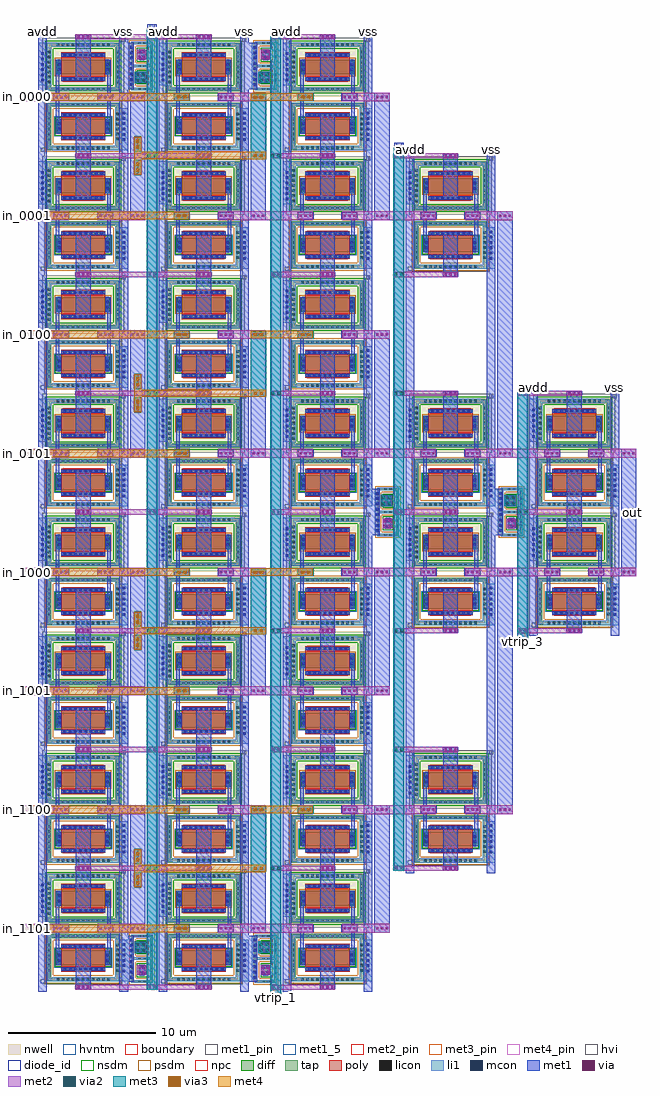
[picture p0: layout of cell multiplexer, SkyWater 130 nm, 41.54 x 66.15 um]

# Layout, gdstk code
import gdstk
lib = gdstk.Library(unit=1e-6, precision=1e-09)
def R(c, l, rs):  # rectangles x0, y0, x1, y1
    for r in rs: c.add(gdstk.rectangle(r[:2], r[2:], *l))
def A(c, l, x, y, w, h, nx, ny, dx, dy):  # array of equal rectangles
    R(c, l, [(x+i*dx, y+j*dy, x+i*dx+w, y+j*dy+h) for i in range(nx) for j in range(ny)])
nwell = (64, 20)
diff = (65, 20)
tap = (65, 44)
poly = (66, 20)
licon = (66, 44)
li1 = (67, 20)
mcon = (67, 44)
met1_5 = (68, 5)
met1_pin = (68, 16)
met1 = (68, 20)
via = (68, 44)
met2_pin = (69, 16)
met2 = (69, 20)
via2 = (69, 44)
met3_pin = (70, 16)
met3 = (70, 20)
via3 = (70, 44)
met4_pin = (71, 16)
met4 = (71, 20)
hvi = (75, 20)
diode_id = (81, 23)
nsdm = (93, 44)
psdm = (94, 20)
npc = (95, 20)
hvntm = (125, 20)
boundary = (235, 4)

sky130_fd_pr__pfet_g5v0d = lib.new_cell('sky130_fd_pr__pfet_g5v0d10v5_6H9SQ3')
R(sky130_fd_pr__pfet_g5v0d, nwell, [(-2.79,-1.985,2.79,1.985)])
R(sky130_fd_pr__pfet_g5v0d, diff, [(-1.79,-0.5,1.79,0.5)])
R(sky130_fd_pr__pfet_g5v0d, tap, [(-2.46,-1.655,2.46,-1.365), (-2.46,-1.365,-2.17,1.365), (2.17,-1.365,2.46,1.365), (-2.46,1.365,2.46,1.655)])
R(sky130_fd_pr__pfet_g5v0d, poly, [(-1.5,-0.985,1.5,0.985)])
A(sky130_fd_pr__pfet_g5v0d, licon, -1.785, -1.595, 0.17, 0.17, 11, 2, 0.34, 3.02)
A(sky130_fd_pr__pfet_g5v0d, licon, -2.4, -1.105, 0.17, 0.17, 1, 7, 0, 0.34)
A(sky130_fd_pr__pfet_g5v0d, licon, 2.23, -1.105, 0.17, 0.17, 1, 7, 0, 0.34)
A(sky130_fd_pr__pfet_g5v0d, licon, -1.275, -0.905, 0.17, 0.17, 8, 2, 0.34, 1.64)
A(sky130_fd_pr__pfet_g5v0d, licon, -1.73, -0.425, 0.17, 0.17, 1, 3, 0, 0.34)
A(sky130_fd_pr__pfet_g5v0d, licon, 1.56, -0.425, 0.17, 0.17, 1, 3, 0, 0.34)
R(sky130_fd_pr__pfet_g5v0d, li1, [(-2.4,-1.595,2.4,-1.425), (-2.4,-1.425,-2.23,1.425), (2.23,-1.425,2.4,1.425), (-1.5,-0.905,1.5,-0.735), (-1.73,-0.52,-1.56,0.52), (1.56,-0.52,1.73,0.52), (-1.5,0.735,1.5,0.905), (-2.4,1.425,2.4,1.595)])
A(sky130_fd_pr__pfet_g5v0d, mcon, -1.345, -0.905, 0.17, 0.17, 8, 2, 0.36, 1.64)
R(sky130_fd_pr__pfet_g5v0d, mcon, [(-1.73,-0.265,-1.56,-0.095), (1.56,-0.265,1.73,-0.095), (-1.73,0.095,-1.56,0.265), (1.56,0.095,1.73,0.265)])
R(sky130_fd_pr__pfet_g5v0d, met1, [(-1.48,-0.935,1.48,-0.705), (-1.76,-0.5,-1.53,0.5), (1.53,-0.5,1.76,0.5), (-1.48,0.705,1.48,0.935)])
R(sky130_fd_pr__pfet_g5v0d, hvi, [(-2.79,-1.985,2.79,1.985)])
R(sky130_fd_pr__pfet_g5v0d, nsdm, [(-2.585,-1.78,2.585,-1.24), (-2.585,-1.24,-2.045,1.24), (2.045,-1.24,2.585,1.24), (-2.585,1.24,2.585,1.78)])
R(sky130_fd_pr__pfet_g5v0d, psdm, [(-1.915,-0.625,1.915,0.625)])
R(sky130_fd_pr__pfet_g5v0d, npc, [(-1.375,-1.005,1.375,-0.635), (-1.375,0.635,1.375,1.005)])
R(sky130_fd_pr__pfet_g5v0d, boundary, [(-2.315,-1.51,2.315,1.51)])

sky130_fd_pr__nfet_g5v0d = lib.new_cell('sky130_fd_pr__nfet_g5v0d10v5_CY564Z')
R(sky130_fd_pr__nfet_g5v0d, diff, [(-1.79,-0.5,1.79,0.5)])
R(sky130_fd_pr__nfet_g5v0d, tap, [(-2.46,-1.61,2.46,-1.32), (-2.46,-1.32,-2.17,1.32), (2.17,-1.32,2.46,1.32), (-2.46,1.32,2.46,1.61)])
R(sky130_fd_pr__nfet_g5v0d, poly, [(-1.5,-0.94,1.5,0.94)])
A(sky130_fd_pr__nfet_g5v0d, licon, -1.785, -1.55, 0.17, 0.17, 11, 2, 0.34, 2.93)
A(sky130_fd_pr__nfet_g5v0d, licon, -2.4, -0.935, 0.17, 0.17, 1, 6, 0, 0.34)
A(sky130_fd_pr__nfet_g5v0d, licon, 2.23, -0.935, 0.17, 0.17, 1, 6, 0, 0.34)
A(sky130_fd_pr__nfet_g5v0d, licon, -1.275, -0.86, 0.17, 0.17, 8, 2, 0.34, 1.55)
A(sky130_fd_pr__nfet_g5v0d, licon, -1.73, -0.425, 0.17, 0.17, 1, 3, 0, 0.34)
A(sky130_fd_pr__nfet_g5v0d, licon, 1.56, -0.425, 0.17, 0.17, 1, 3, 0, 0.34)
R(sky130_fd_pr__nfet_g5v0d, li1, [(-2.4,-1.55,2.4,-1.38), (-2.4,-1.38,-2.23,1.38), (2.23,-1.38,2.4,1.38), (-1.5,-0.86,1.5,-0.69), (-1.73,-0.52,-1.56,0.52), (1.56,-0.52,1.73,0.52), (-1.5,0.69,1.5,0.86), (-2.4,1.38,2.4,1.55)])
A(sky130_fd_pr__nfet_g5v0d, mcon, -1.345, -0.86, 0.17, 0.17, 8, 2, 0.36, 1.55)
R(sky130_fd_pr__nfet_g5v0d, mcon, [(-1.73,-0.265,-1.56,-0.095), (1.56,-0.265,1.73,-0.095), (-1.73,0.095,-1.56,0.265), (1.56,0.095,1.73,0.265)])
R(sky130_fd_pr__nfet_g5v0d, met1, [(-1.48,-0.89,1.48,-0.66), (-1.76,-0.5,-1.53,0.5), (1.53,-0.5,1.76,0.5), (-1.48,0.66,1.48,0.89)])
R(sky130_fd_pr__nfet_g5v0d, hvi, [(-2.645,-1.795,2.645,1.795)])
R(sky130_fd_pr__nfet_g5v0d, nsdm, [(-1.915,-0.625,1.915,0.625)])
R(sky130_fd_pr__nfet_g5v0d, psdm, [(-2.585,-1.735,2.585,-1.195), (-2.585,-1.195,-2.045,1.195), (2.045,-1.195,2.585,1.195), (-2.585,1.195,2.585,1.735)])
R(sky130_fd_pr__nfet_g5v0d, npc, [(-1.375,-0.96,1.375,-0.59), (-1.375,0.59,1.375,0.96)])
R(sky130_fd_pr__nfet_g5v0d, hvntm, [(-1.975,-0.685,1.975,0.685)])
R(sky130_fd_pr__nfet_g5v0d, boundary, [(-2.31,-1.46,2.31,1.46)])

trans_gate_m = lib.new_cell('trans_gate_m')
R(trans_gate_m, li1, [(0.255,-0.145,5.355,0.145), (4.485,0.145,5.355,2.675), (-0.725,4.235,0.145,6.855), (-0.725,6.855,4.375,7.145)])
A(trans_gate_m, mcon, 4.98, 0.48, 0.17, 0.17, 1, 6, 0, 0.36)
A(trans_gate_m, mcon, -0.52, 4.505, 0.17, 0.17, 1, 6, 0, 0.36)
R(trans_gate_m, met1_pin, [(-0.575,-0.275,-0.295,0.005), (4.925,7.195,5.205,7.475)])
R(trans_gate_m, met1, [(4.775,-0.725,5.355,7.475), (1.785,-0.67,2.845,-0.38), (1.815,-0.38,2.815,2.355), (-0.725,-0.275,-0.145,7.775), (0.455,0.965,0.815,1.965), (3.815,0.965,4.175,1.965), (0.455,1.965,0.695,3.205), (3.935,1.965,4.175,3.205), (0.275,3.205,1.375,3.705), (3.255,3.205,4.355,3.705), (0.455,3.705,0.695,4.99), (3.935,3.705,4.175,4.99), (1.815,4.555,2.815,7.38), (0.455,4.99,0.815,5.99), (3.815,4.99,4.175,5.99), (1.785,7.38,2.845,7.67)])
A(trans_gate_m, via, 1.92, -0.6, 0.15, 0.15, 3, 2, 0.32, 8.05)
A(trans_gate_m, via, 0.43, 3.38, 0.15, 0.15, 3, 1, 0.32, 0)
A(trans_gate_m, via, 3.41, 3.38, 0.15, 0.15, 3, 1, 0.32, 0)
R(trans_gate_m, met2_pin, [(1.815,-0.67,2.815,-0.38), (0.325,3.205,1.325,3.705), (3.305,3.205,4.305,3.705), (1.815,7.38,2.815,7.67)])
R(trans_gate_m, met2, [(1.815,-0.7,2.815,-0.35), (0.325,3.155,1.325,3.755), (3.305,3.155,4.305,3.755), (1.815,7.35,2.815,7.7)])
R(trans_gate_m, hvi, [(-0.33,3.26,4.96,3.505)])
trans_gate_m.add(gdstk.Reference(sky130_fd_pr__pfet_g5v0d, (2.315,5.49)))
trans_gate_m.add(gdstk.Reference(sky130_fd_pr__nfet_g5v0d, (2.315,1.465)))
trans_gate_m.add(gdstk.Label('in', (0.825,3.455), layer=69, texttype=5))
trans_gate_m.add(gdstk.Label('ena_b', (2.315,7.525), layer=69, texttype=5))
trans_gate_m.add(gdstk.Label('ena', (2.315,-0.525), layer=69, texttype=5))
trans_gate_m.add(gdstk.Label('avdd', (-0.435,-0.135), layer=68, texttype=5))
trans_gate_m.add(gdstk.Label('vss', (5.065,7.335), layer=68, texttype=5))
trans_gate_m.add(gdstk.Label('out', (3.805,3.455), layer=69, texttype=5))

sky130_fd_pr__diode_pw2n = lib.new_cell('sky130_fd_pr__diode_pw2nd_05v5_F6RBXN')
R(sky130_fd_pr__diode_pw2n, diff, [(-0.225,-0.35,0.225,0.35)])
R(sky130_fd_pr__diode_pw2n, tap, [(-0.735,-0.86,0.735,-0.69), (-0.735,-0.69,-0.565,0.69), (0.565,-0.69,0.735,0.69), (-0.735,0.69,0.735,0.86)])
A(sky130_fd_pr__diode_pw2n, licon, -0.735, -0.255, 0.17, 0.17, 3, 2, 0.65, 0.34)
R(sky130_fd_pr__diode_pw2n, licon, [(-0.255,-0.86,-0.085,-0.69), (0.085,-0.86,0.255,-0.69), (-0.255,0.69,-0.085,0.86), (0.085,0.69,0.255,0.86)])
R(sky130_fd_pr__diode_pw2n, li1, [(-0.735,-0.86,0.735,-0.69), (-0.735,-0.69,-0.565,0.69), (0.565,-0.69,0.735,0.69), (-0.165,-0.37,0.165,0.37), (-0.735,0.69,0.735,0.86)])
R(sky130_fd_pr__diode_pw2n, mcon, [(-0.085,-0.265,0.085,-0.095), (-0.085,0.095,0.085,0.265)])
R(sky130_fd_pr__diode_pw2n, met1, [(-0.195,-0.35,0.195,0.35)])
R(sky130_fd_pr__diode_pw2n, diode_id, [(-0.225,-0.35,0.225,0.35)])
R(sky130_fd_pr__diode_pw2n, nsdm, [(-0.35,-0.475,0.35,0.475)])
R(sky130_fd_pr__diode_pw2n, psdm, [(-0.86,-0.985,0.86,-0.565), (-0.86,-0.565,-0.44,0.565), (0.44,-0.565,0.86,0.565), (-0.86,0.565,0.86,0.985)])
R(sky130_fd_pr__diode_pw2n, boundary, [(-0.65,-0.775,0.65,0.775)])

multiplexer = lib.new_cell('multiplexer')
R(multiplexer, li1, [(6.085,0.56,6.465,3.69), (14.475,0.56,14.855,3.69), (22.815,30.835,23.135,33.965), (31.155,30.835,31.475,33.965), (6.085,61.06,6.465,64.19), (14.475,61.06,14.855,64.19)])
A(multiplexer, mcon, 6.195, 0.78, 0.17, 0.17, 1, 8, 0, 0.36)
A(multiplexer, mcon, 14.585, 0.78, 0.17, 0.17, 1, 8, 0, 0.36)
A(multiplexer, mcon, 22.89, 31.055, 0.17, 0.17, 1, 8, 0, 0.36)
A(multiplexer, mcon, 31.23, 31.055, 0.17, 0.17, 1, 8, 0, 0.36)
A(multiplexer, mcon, 6.195, 61.28, 0.17, 0.17, 1, 8, 0, 0.36)
A(multiplexer, mcon, 14.585, 61.28, 0.17, 0.17, 1, 8, 0, 0.36)
R(multiplexer, met1_5, [(33.44,40.7,33.72,40.98), (38.94,40.7,39.22,40.98), (25.055,56.8,25.335,57.08), (30.555,56.8,30.835,57.08), (8.325,64.85,8.605,65.13), (13.825,64.85,14.105,65.13), (16.715,64.85,16.995,65.13), (22.215,64.85,22.495,65.13)])
R(multiplexer, met1_pin, [(15.93,-0.675,16.28,-0.325), (32.655,23.475,33.005,23.825), (40.04,32.15,40.54,32.65), (24.27,57.075,24.62,57.425), (0.155,64.85,0.435,65.13), (5.655,64.85,5.935,65.13), (7.54,65.125,7.89,65.475)])
A(multiplexer, met1, 6.225, 3.88, 1.03, 8.65, 1, 4, 0, 16.1)
A(multiplexer, met1, 14.395, 3.88, 1.03, 8.65, 1, 4, 0, 16.1)
A(multiplexer, met1, 22.785, 3.88, 1.03, 8.65, 1, 4, 0, 16.1)
R(multiplexer, met1, [(15.785,-0.675,16.425,1.03), (0.005,-0.13,0.585,0.45), (5.505,-0.13,6.085,0.45), (8.175,-0.13,8.755,0.45), (13.675,-0.13,14.255,0.45), (16.565,-0.13,17.145,0.45), (22.065,-0.13,22.645,0.45), (7.395,0.025,8.035,1.03), (6.085,0.56,6.465,3.69), (14.255,0.56,14.855,3.69), (6.675,1.03,8.035,1.67), (15.065,1.03,16.425,1.67), (7.395,1.67,8.035,63.08), (15.785,1.67,16.425,63.08), (6.605,2.58,7.245,3.22), (14.995,2.58,15.635,3.22), (24.905,7.92,25.485,8.5), (30.405,7.92,30.985,8.5), (24.125,8.075,24.765,31.305), (30.405,11.31,30.985,24.3), (31.125,11.93,32.155,28.63), (24.905,16.55,25.485,24.6), (32.51,23.475,33.15,31.305), (33.29,24.02,33.87,24.6), (38.79,24.02,39.37,24.6), (39.51,28.03,40.54,36.68), (22.645,30.835,23.135,33.965), (30.985,30.835,31.475,33.965), (23.345,31.305,24.765,31.945), (31.73,31.305,33.15,31.945), (24.125,31.945,24.765,57.425), (32.51,31.945,33.15,40.625), (23.275,32.855,23.915,33.495), (31.66,32.855,32.3,33.495), (31.125,36.08,32.155,52.78), (30.405,40.4,30.985,48.3), (33.29,40.4,33.87,40.98), (38.79,40.4,39.37,40.98), (24.905,40.7,25.485,48.75), (24.905,56.5,25.485,57.08), (30.405,56.5,30.985,57.08), (6.085,61.06,6.465,64.19), (14.255,61.06,14.855,64.19), (6.605,61.53,7.245,62.17), (14.995,61.53,15.635,62.17), (6.675,63.08,8.035,63.72), (15.065,63.08,16.425,63.72), (7.395,63.72,8.035,65.475), (15.785,63.72,16.425,64.775), (0.005,64.55,0.585,65.13), (5.505,64.55,6.085,65.13), (8.175,64.55,8.755,65.13), (13.675,64.55,14.255,65.13), (16.565,64.55,17.145,65.13), (22.065,64.55,22.645,65.13)])
A(multiplexer, via, 7.48, 0.125, 0.15, 0.15, 1, 5, 0, 16.1)
A(multiplexer, via, 7.8, 0.125, 0.15, 0.15, 1, 5, 0, 16.1)
A(multiplexer, via, 15.87, 0.125, 0.15, 0.15, 1, 5, 0, 16.1)
A(multiplexer, via, 16.19, 0.125, 0.15, 0.15, 1, 5, 0, 16.1)
A(multiplexer, via, 6.345, 4.105, 0.15, 0.15, 3, 8, 0.32, 8.05)
A(multiplexer, via, 14.515, 4.105, 0.15, 0.15, 3, 8, 0.32, 8.05)
A(multiplexer, via, 22.905, 4.105, 0.15, 0.15, 3, 8, 0.32, 8.05)
A(multiplexer, via, 6.665, 7.065, 0.15, 0.15, 1, 3, 0, 0.32)
A(multiplexer, via, 24.21, 8.175, 0.15, 0.15, 1, 3, 0, 24.15)
A(multiplexer, via, 24.53, 8.175, 0.15, 0.15, 1, 3, 0, 24.15)
A(multiplexer, via, 6.665, 8.645, 0.15, 0.15, 1, 3, 0, 0.32)
A(multiplexer, via, 31.245, 12.155, 0.15, 0.15, 3, 2, 0.32, 16.1)
A(multiplexer, via, 6.665, 23.165, 0.15, 0.15, 1, 3, 0, 0.32)
A(multiplexer, via, 6.665, 24.745, 0.15, 0.15, 1, 3, 0, 0.32)
A(multiplexer, via, 39.63, 28.255, 0.15, 0.15, 3, 2, 0.32, 8.05)
A(multiplexer, via, 31.245, 36.305, 0.15, 0.15, 3, 2, 0.32, 16.1)
A(multiplexer, via, 6.665, 39.265, 0.15, 0.15, 1, 3, 0, 0.32)
A(multiplexer, via, 6.665, 40.845, 0.15, 0.15, 1, 3, 0, 0.32)
A(multiplexer, via, 6.665, 55.365, 0.15, 0.15, 1, 3, 0, 0.32)
A(multiplexer, via, 6.665, 56.945, 0.15, 0.15, 1, 3, 0, 0.32)
R(multiplexer, via, [(6.76,1.115,6.91,1.265), (7.08,1.115,7.23,1.265), (15.15,1.115,15.3,1.265), (15.47,1.115,15.62,1.265), (6.76,1.435,6.91,1.585), (7.08,1.435,7.23,1.585), (15.15,1.435,15.3,1.585), (15.47,1.435,15.62,1.585), (6.69,2.665,6.84,2.815), (7.01,2.665,7.16,2.815), (15.08,2.665,15.23,2.815), (15.4,2.665,15.55,2.815), (6.69,2.985,6.84,3.135), (7.01,2.985,7.16,3.135), (15.08,2.985,15.23,3.135), (15.4,2.985,15.55,3.135), (32.595,24.275,32.745,24.425), (32.915,24.275,33.065,24.425), (23.43,31.39,23.58,31.54), (23.75,31.39,23.9,31.54), (31.815,31.39,31.965,31.54), (32.135,31.39,32.285,31.54), (23.43,31.71,23.58,31.86), (23.75,31.71,23.9,31.86), (31.815,31.71,31.965,31.86), (32.135,31.71,32.285,31.86), (23.36,32.94,23.51,33.09), (23.68,32.94,23.83,33.09), (31.745,32.94,31.895,33.09), (32.065,32.94,32.215,33.09), (23.36,33.26,23.51,33.41), (23.68,33.26,23.83,33.41), (31.745,33.26,31.895,33.41), (32.065,33.26,32.215,33.41), (32.595,40.375,32.745,40.525), (32.915,40.375,33.065,40.525), (6.69,61.615,6.84,61.765), (7.01,61.615,7.16,61.765), (15.08,61.615,15.23,61.765), (15.4,61.615,15.55,61.765), (6.69,61.935,6.84,62.085), (7.01,61.935,7.16,62.085), (15.08,61.935,15.23,62.085), (15.4,61.935,15.55,62.085), (6.76,63.165,6.91,63.315), (7.08,63.165,7.23,63.315), (15.15,63.165,15.3,63.315), (15.47,63.165,15.62,63.315), (6.76,63.485,6.91,63.635), (7.08,63.485,7.23,63.635), (15.15,63.485,15.3,63.635), (15.47,63.485,15.62,63.635)])
A(multiplexer, met2_pin, -0.995, 3.93, 0.5, 0.5, 1, 8, 0, 8.05)
A(multiplexer, met2, 3.545, 0.025, 8.17, 0.35, 1, 9, 0, 8.05)
A(multiplexer, met2, 15.785, 0.025, 4.32, 0.35, 1, 5, 0, 16.1)
A(multiplexer, met2, -0.995, 3.88, 2.05, 0.6, 1, 8, 0, 8.05)
A(multiplexer, met2, 5.035, 3.88, 2.22, 0.6, 1, 8, 0, 8.05)
A(multiplexer, met2, 9.225, 3.88, 1, 0.6, 1, 8, 0, 8.05)
A(multiplexer, met2, 13.205, 3.88, 5.41, 0.6, 1, 3, 0, 16.1)
A(multiplexer, met2, 15.715, 8.075, 4.39, 0.35, 1, 4, 0, 16.1)
A(multiplexer, met2, 24.125, 8.075, 4.32, 0.35, 1, 3, 0, 24.15)
A(multiplexer, met2, 13.205, 11.93, 2.22, 0.6, 1, 3, 0, 16.1)
A(multiplexer, met2, 17.615, 11.93, 1, 0.6, 1, 4, 0, 16.1)
R(multiplexer, met2, [(6.675,1.03,7.315,1.67), (15.065,1.03,15.705,1.67), (6.535,2.51,7.315,3.29), (14.925,2.51,15.705,3.29), (21.595,3.88,23.815,4.48), (6.465,6.985,7.015,7.935), (6.465,8.565,7.015,9.515), (21.595,11.93,26.955,12.53), (29.935,11.93,32.155,12.53), (24.055,16.125,28.445,16.475), (21.595,19.98,23.815,20.58), (6.465,23.085,7.015,24.035), (24.055,24.175,28.445,24.525), (32.51,24.175,36.83,24.525), (6.465,24.665,7.015,25.615), (21.595,28.03,26.955,28.63), (29.935,28.03,35.34,28.63), (38.32,28.03,40.54,28.63), (23.345,31.305,23.985,31.945), (31.73,31.305,32.37,31.945), (32.44,32.225,36.83,32.575), (23.205,32.785,23.985,33.565), (31.59,32.785,32.37,33.565), (21.595,36.08,26.955,36.68), (29.935,36.08,35.34,36.68), (38.32,36.08,40.54,36.68), (6.465,39.185,7.015,40.135), (24.055,40.275,28.445,40.625), (32.51,40.275,36.83,40.625), (6.465,40.765,7.015,41.715), (21.595,44.13,23.815,44.73), (24.055,48.325,28.445,48.675), (12.935,52.18,18.615,52.78), (21.595,52.18,26.955,52.78), (29.935,52.18,32.155,52.78), (6.465,55.285,7.015,56.235), (6.465,56.865,7.015,57.815), (13.175,60.23,15.425,60.83), (21.595,60.23,23.815,60.83), (6.535,61.46,7.315,62.24), (14.925,61.46,15.705,62.24), (6.675,63.08,7.315,63.72), (15.065,63.08,15.705,63.72)])
A(multiplexer, via2, 9.425, 4.08, 0.2, 0.2, 1, 8, 0, 8.05)
A(multiplexer, via2, 9.825, 4.08, 0.2, 0.2, 1, 8, 0, 8.05)
A(multiplexer, via2, 7.415, 8.15, 0.2, 0.2, 1, 4, 0, 16.1)
A(multiplexer, via2, 7.815, 8.15, 0.2, 0.2, 1, 4, 0, 16.1)
A(multiplexer, via2, 15.805, 8.15, 0.2, 0.2, 1, 4, 0, 16.1)
A(multiplexer, via2, 16.205, 8.15, 0.2, 0.2, 1, 4, 0, 16.1)
A(multiplexer, via2, 17.815, 12.13, 0.2, 0.2, 1, 4, 0, 16.1)
A(multiplexer, via2, 18.215, 12.13, 0.2, 0.2, 1, 4, 0, 16.1)
R(multiplexer, via2, [(6.625,2.6,6.825,2.8), (7.025,2.6,7.225,2.8), (15.015,2.6,15.215,2.8), (15.415,2.6,15.615,2.8), (6.625,3,6.825,3.2), (7.025,3,7.225,3.2), (15.015,3,15.215,3.2), (15.415,3,15.615,3.2), (6.64,7.16,6.84,7.36), (6.64,7.56,6.84,7.76), (6.64,8.74,6.84,8.94), (6.64,9.14,6.84,9.34), (24.145,16.2,24.345,16.4), (24.545,16.2,24.745,16.4), (6.64,23.26,6.84,23.46), (6.64,23.66,6.84,23.86), (24.145,24.25,24.345,24.45), (24.545,24.25,24.745,24.45), (6.64,24.84,6.84,25.04), (6.64,25.24,6.84,25.44), (32.53,32.3,32.73,32.5), (32.93,32.3,33.13,32.5), (23.295,32.875,23.495,33.075), (23.695,32.875,23.895,33.075), (31.68,32.875,31.88,33.075), (32.08,32.875,32.28,33.075), (23.295,33.275,23.495,33.475), (23.695,33.275,23.895,33.475), (31.68,33.275,31.88,33.475), (32.08,33.275,32.28,33.475), (6.64,39.36,6.84,39.56), (6.64,39.76,6.84,39.96), (24.145,40.35,24.345,40.55), (24.545,40.35,24.745,40.55), (6.64,40.94,6.84,41.14), (6.64,41.34,6.84,41.54), (24.145,48.4,24.345,48.6), (24.545,48.4,24.745,48.6), (6.64,55.46,6.84,55.66), (6.64,55.86,6.84,56.06), (6.64,57.04,6.84,57.24), (6.64,57.44,6.84,57.64), (6.625,61.55,6.825,61.75), (7.025,61.55,7.225,61.75), (15.015,61.55,15.215,61.75), (15.415,61.55,15.615,61.75), (6.625,61.95,6.825,62.15), (7.025,61.95,7.225,62.15), (15.015,61.95,15.215,62.15), (15.415,61.95,15.615,62.15)])
R(multiplexer, met3_pin, [(15.93,-0.325,16.28,0.025), (32.655,23.825,33.005,24.175), (24.27,56.725,24.62,57.075), (7.54,64.775,7.89,65.125)])
A(multiplexer, met3, 9.175, 3.905, 1.1, 0.55, 1, 8, 0, 8.05)
A(multiplexer, met3, 14.385, 8.025, 1.05, 4.425, 1, 4, 0, 16.1)
A(multiplexer, met3, 17.565, 11.955, 1.1, 0.55, 1, 4, 0, 16.1)
R(multiplexer, met3, [(15.735,-0.325,16.475,2.51), (7.345,0.025,8.085,2.51), (6.535,2.51,8.085,3.29), (14.925,2.51,16.475,3.29), (7.345,3.29,8.085,61.46), (15.735,3.29,16.475,61.46), (6.49,6.935,6.99,7.985), (24.075,8.075,24.815,32.785), (6.49,8.515,6.99,9.565), (6.49,23.035,6.99,24.085), (32.46,23.825,33.2,32.785), (6.49,24.615,6.99,25.665), (23.205,32.785,24.815,33.565), (31.59,32.785,33.2,33.565), (24.075,33.565,24.815,56.725), (32.46,33.565,33.2,40.625), (6.49,39.135,6.99,40.185), (6.49,40.715,6.99,41.765), (6.49,55.235,6.99,56.285), (24.08,56.725,24.815,57.075), (6.49,56.815,6.99,57.865), (6.535,61.46,8.085,62.24), (14.925,61.46,16.475,62.24), (7.345,62.24,8.085,65.125), (15.735,62.24,16.475,64.775)])
A(multiplexer, via3, 9.425, 4.08, 0.2, 0.2, 1, 8, 0, 8.05)
A(multiplexer, via3, 9.825, 4.08, 0.2, 0.2, 1, 8, 0, 8.05)
A(multiplexer, via3, 17.815, 12.13, 0.2, 0.2, 1, 4, 0, 16.1)
A(multiplexer, via3, 18.215, 12.13, 0.2, 0.2, 1, 4, 0, 16.1)
R(multiplexer, via3, [(6.64,7.16,6.84,7.36), (6.64,7.56,6.84,7.76), (14.61,8.15,14.81,8.35), (15.01,8.15,15.21,8.35), (6.64,8.74,6.84,8.94), (6.64,9.14,6.84,9.34), (14.61,12.125,14.81,12.325), (15.01,12.125,15.21,12.325), (6.64,23.26,6.84,23.46), (6.64,23.66,6.84,23.86), (14.61,24.25,14.81,24.45), (15.01,24.25,15.21,24.45), (6.64,24.84,6.84,25.04), (6.64,25.24,6.84,25.44), (14.61,28.225,14.81,28.425), (15.01,28.225,15.21,28.425), (6.64,39.36,6.84,39.56), (6.64,39.76,6.84,39.96), (14.61,40.35,14.81,40.55), (15.01,40.35,15.21,40.55), (6.64,40.94,6.84,41.14), (6.64,41.34,6.84,41.54), (14.61,44.325,14.81,44.525), (15.01,44.325,15.21,44.525), (6.64,55.46,6.84,55.66), (6.64,55.86,6.84,56.06), (14.61,56.45,14.81,56.65), (15.01,56.45,15.21,56.65), (6.64,57.04,6.84,57.24), (6.64,57.44,6.84,57.64), (14.61,60.425,14.81,60.625), (15.01,60.425,15.21,60.625)])
A(multiplexer, met4_pin, -0.495, 3.93, 0.5, 0.5, 1, 8, 0, 8.05)
A(multiplexer, met4, -0.495, 3.925, 10.725, 0.51, 1, 8, 0, 8.05)
A(multiplexer, met4, 6.49, 8, 8.92, 0.5, 1, 4, 0, 16.1)
A(multiplexer, met4, 14.41, 11.975, 4.21, 0.51, 1, 4, 0, 16.1)
R(multiplexer, met4, [(6.49,6.96,6.99,8), (6.49,8.5,6.99,9.54), (6.49,23.06,6.99,24.1), (6.49,24.6,6.99,25.64), (6.49,39.16,6.99,40.2), (6.49,40.7,6.99,41.74), (6.49,55.26,6.99,56.3), (6.49,56.8,6.99,57.84)])
A(multiplexer, hvi, 0.4, 8.2, 5.29, 0.245, 1, 7, 0, 8.05)
A(multiplexer, hvi, 8.57, 8.2, 5.29, 0.245, 1, 7, 0, 8.05)
A(multiplexer, hvi, 16.96, 8.2, 5.29, 0.245, 1, 7, 0, 8.05)
R(multiplexer, hvi, [(25.3,32.35,30.59,32.595), (33.685,32.35,38.975,32.595)])
multiplexer.add(gdstk.Reference(trans_gate_m, (25.63,8.775)))
multiplexer.add(gdstk.Reference(trans_gate_m, (34.015,24.875)))
multiplexer.add(gdstk.Reference(trans_gate_m, (34.015,32.925)))
multiplexer.add(gdstk.Reference(trans_gate_m, (25.63,24.875)))
multiplexer.add(gdstk.Reference(trans_gate_m, (17.29,57.075)))
multiplexer.add(gdstk.Reference(trans_gate_m, (17.29,49.025)))
multiplexer.add(gdstk.Reference(trans_gate_m, (25.63,32.925)))
multiplexer.add(gdstk.Reference(trans_gate_m, (17.29,40.975)))
multiplexer.add(gdstk.Reference(trans_gate_m, (17.29,32.925)))
multiplexer.add(gdstk.Reference(trans_gate_m, (17.29,24.875)))
multiplexer.add(gdstk.Reference(trans_gate_m, (17.29,16.825)))
multiplexer.add(gdstk.Reference(trans_gate_m, (25.63,49.025)))
multiplexer.add(gdstk.Reference(trans_gate_m, (17.29,0.725)))
multiplexer.add(gdstk.Reference(trans_gate_m, (17.29,8.775)))
multiplexer.add(gdstk.Reference(trans_gate_m, (0.73,57.075)))
multiplexer.add(gdstk.Reference(trans_gate_m, (0.73,49.025)))
multiplexer.add(gdstk.Reference(trans_gate_m, (0.73,40.975)))
multiplexer.add(gdstk.Reference(trans_gate_m, (0.73,32.925)))
multiplexer.add(gdstk.Reference(trans_gate_m, (0.73,16.825)))
multiplexer.add(gdstk.Reference(trans_gate_m, (0.73,24.875)))
multiplexer.add(gdstk.Reference(trans_gate_m, (0.73,8.775)))
multiplexer.add(gdstk.Reference(trans_gate_m, (0.73,0.725)))
multiplexer.add(gdstk.Reference(trans_gate_m, (8.9,0.725)))
multiplexer.add(gdstk.Reference(trans_gate_m, (8.9,8.775)))
multiplexer.add(gdstk.Reference(trans_gate_m, (8.9,24.875)))
multiplexer.add(gdstk.Reference(trans_gate_m, (8.9,16.825)))
multiplexer.add(gdstk.Reference(trans_gate_m, (8.9,32.925)))
multiplexer.add(gdstk.Reference(trans_gate_m, (8.9,40.975)))
multiplexer.add(gdstk.Reference(trans_gate_m, (8.9,49.025)))
multiplexer.add(gdstk.Reference(trans_gate_m, (8.9,57.075)))
multiplexer.add(gdstk.Reference(sky130_fd_pr__diode_pw2n, (32.085,31.625), x_reflection=True))
multiplexer.add(gdstk.Reference(sky130_fd_pr__diode_pw2n, (32.085,33.175), x_reflection=True))
multiplexer.add(gdstk.Reference(sky130_fd_pr__diode_pw2n, (23.7,31.625), x_reflection=True))
multiplexer.add(gdstk.Reference(sky130_fd_pr__diode_pw2n, (23.7,33.175), x_reflection=True))
multiplexer.add(gdstk.Reference(sky130_fd_pr__diode_pw2n, (15.42,63.4)))
multiplexer.add(gdstk.Reference(sky130_fd_pr__diode_pw2n, (15.42,61.85)))
multiplexer.add(gdstk.Reference(sky130_fd_pr__diode_pw2n, (15.42,2.9), x_reflection=True))
multiplexer.add(gdstk.Reference(sky130_fd_pr__diode_pw2n, (15.42,1.35), x_reflection=True))
multiplexer.add(gdstk.Reference(sky130_fd_pr__diode_pw2n, (7.03,1.35), x_reflection=True))
multiplexer.add(gdstk.Reference(sky130_fd_pr__diode_pw2n, (7.03,2.9), x_reflection=True))
multiplexer.add(gdstk.Reference(sky130_fd_pr__diode_pw2n, (7.03,61.85)))
multiplexer.add(gdstk.Reference(sky130_fd_pr__diode_pw2n, (7.03,63.4)))
multiplexer.add(gdstk.Label('avdd', (8.465,64.99), layer=68, texttype=5))
multiplexer.add(gdstk.Label('vss', (13.965,64.99), layer=68, texttype=5))
multiplexer.add(gdstk.Label('avdd', (16.855,64.99), layer=68, texttype=5))
multiplexer.add(gdstk.Label('vss', (22.355,64.99), layer=68, texttype=5))
multiplexer.add(gdstk.Label('avdd', (25.195,56.94), layer=68, texttype=5))
multiplexer.add(gdstk.Label('vss', (30.695,56.94), layer=68, texttype=5))
multiplexer.add(gdstk.Label('avdd', (33.58,40.84), layer=68, texttype=5))
multiplexer.add(gdstk.Label('vss', (39.08,40.84), layer=68, texttype=5))
multiplexer.add(gdstk.Label('in_0000', (-0.745,60.53), layer=69, texttype=5))
multiplexer.add(gdstk.Label('in_0001', (-0.745,52.48), layer=69, texttype=5))
multiplexer.add(gdstk.Label('in_0010', (-0.245,60.53), layer=71, texttype=5))
multiplexer.add(gdstk.Label('in_0011', (-0.245,52.48), layer=71, texttype=5))
multiplexer.add(gdstk.Label('in_0100', (-0.745,44.43), layer=69, texttype=5))
multiplexer.add(gdstk.Label('in_0101', (-0.745,36.38), layer=69, texttype=5))
multiplexer.add(gdstk.Label('in_0110', (-0.245,44.43), layer=71, texttype=5))
multiplexer.add(gdstk.Label('avdd', (0.295,64.99), layer=68, texttype=5))
multiplexer.add(gdstk.Label('vss', (5.795,64.99), layer=68, texttype=5))
multiplexer.add(gdstk.Label('in_0111', (-0.245,36.38), layer=71, texttype=5))
multiplexer.add(gdstk.Label('vtrip_3', (32.83,23.65), layer=68, texttype=5))
multiplexer.add(gdstk.Label('vtrip_3_b', (32.83,24), layer=70, texttype=5))
multiplexer.add(gdstk.Label('vtrip_2', (24.445,57.25), layer=68, texttype=5))
multiplexer.add(gdstk.Label('vtrip_2_b', (24.445,56.9), layer=70, texttype=5))
multiplexer.add(gdstk.Label('vtrip_1', (16.105,-0.5), layer=68, texttype=5))
multiplexer.add(gdstk.Label('out', (40.29,32.4), layer=68, texttype=5))
multiplexer.add(gdstk.Label('vtrip_1_b', (16.105,-0.15), layer=70, texttype=5))
multiplexer.add(gdstk.Label('vtrip_0', (7.715,65.3), layer=68, texttype=5))
multiplexer.add(gdstk.Label('vtrip_0_b', (7.715,64.95), layer=70, texttype=5))
multiplexer.add(gdstk.Label('in_1000', (-0.745,28.33), layer=69, texttype=5))
multiplexer.add(gdstk.Label('in_1001', (-0.745,20.28), layer=69, texttype=5))
multiplexer.add(gdstk.Label('in_1010', (-0.245,28.33), layer=71, texttype=5))
multiplexer.add(gdstk.Label('in_1011', (-0.245,20.28), layer=71, texttype=5))
multiplexer.add(gdstk.Label('in_1100', (-0.745,12.23), layer=69, texttype=5))
multiplexer.add(gdstk.Label('in_1101', (-0.745,4.18), layer=69, texttype=5))
multiplexer.add(gdstk.Label('in_1110', (-0.245,12.23), layer=71, texttype=5))
multiplexer.add(gdstk.Label('in_1111', (-0.245,4.18), layer=71, texttype=5))

lib.write_gds('multiplexer.gds')
